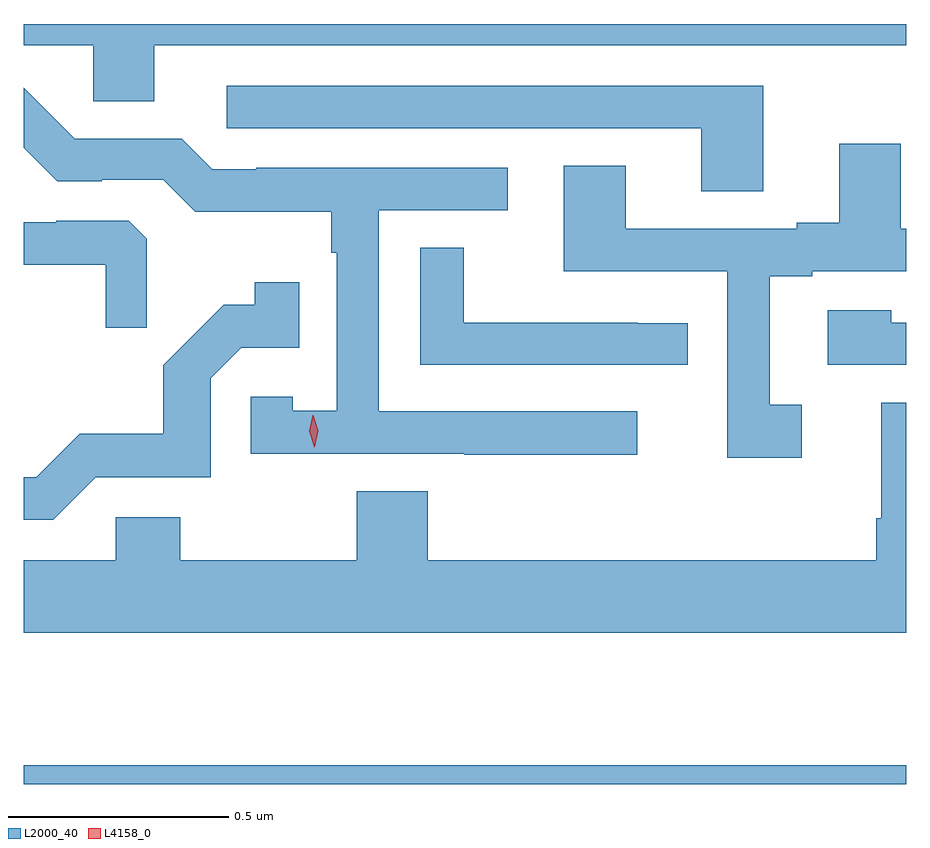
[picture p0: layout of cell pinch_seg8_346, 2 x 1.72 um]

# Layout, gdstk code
import gdstk
lib = gdstk.Library(unit=1e-6, precision=1e-09)
def R(c, l, rs):  # rectangles x0, y0, x1, y1
    for r in rs: c.add(gdstk.rectangle(r[:2], r[2:], *l))
def P(c, l, *ps):  # polygons
    for p in ps: c.add(gdstk.Polygon(p, *l))
L2000_40 = (2000, 40)
L4158_0 = (4158, 0)

pinch_seg8_346 = lib.new_cell('pinch_seg8_346')
R(pinch_seg8_346, L2000_40, [(381.581,1162.777,383.581,1162.819)])
P(pinch_seg8_346, L2000_40, [(381.877,1164.452),(383.581,1164.452),(383.581,1164.5),(381.581,1164.5),(381.581,1164.452),(381.738,1164.452),(381.738,1164.325),(381.877,1164.325)],
  [(383.257,1164.36),(382.041,1164.36),(382.041,1164.264),(383.117,1164.264),(383.117,1164.121),(383.257,1164.121)],
  [(382.972,1163.622),(382.386,1163.622),(382.386,1164.078),(382.678,1164.078),(382.678,1164.174),(382.108,1164.174),(382.108,1164.171),(382.008,1164.171),(381.939,1164.24),(381.696,1164.24),(381.581,1164.355),(381.581,1164.22),(381.657,1164.144),(381.758,1164.144),(381.758,1164.147),(381.897,1164.147),(381.97,1164.074),(382.278,1164.074),(382.278,1163.981),(382.29,1163.981),(382.29,1163.623),(382.191,1163.623),(382.191,1163.655),(382.095,1163.655),(382.095,1163.526),(382.579,1163.526),(382.579,1163.524),(382.972,1163.524)],
  [(383.344,1163.637),(383.272,1163.637),(383.272,1163.928),(383.368,1163.928),(383.368,1163.94),(383.581,1163.94),(383.581,1164.036),(383.569,1164.036),(383.569,1164.229),(383.429,1164.229),(383.429,1164.049),(383.333,1164.049),(383.333,1164.036),(382.945,1164.036),(382.945,1164.179),(382.805,1164.179),(382.805,1163.94),(383.175,1163.94),(383.175,1163.517),(383.344,1163.517)],
  [(381.86,1164.013),(381.819,1164.054),(381.654,1164.054),(381.654,1164.051),(381.581,1164.051),(381.581,1163.954),(381.766,1163.954),(381.766,1163.811),(381.86,1163.811)],
  [(383.086,1163.822),(382.973,1163.822),(382.973,1163.823),(382.578,1163.823),(382.578,1163.993),(382.479,1163.993),(382.479,1163.727),(383.086,1163.727)],
  [(381.744,1163.472),(382.005,1163.472),(382.005,1163.697),(382.074,1163.766),(382.205,1163.766),(382.205,1163.914),(382.104,1163.914),(382.104,1163.864),(382.034,1163.864),(381.897,1163.726),(381.897,1163.571),(381.708,1163.571),(381.609,1163.472),(381.581,1163.472),(381.581,1163.376),(381.648,1163.376)],
  [(383.581,1163.823),(383.547,1163.823),(383.547,1163.851),(383.403,1163.851),(383.403,1163.727),(383.581,1163.727)],
  [(383.581,1163.641),(383.525,1163.641),(383.525,1163.38),(383.513,1163.38),(383.513,1163.284),(382.496,1163.284),(382.496,1163.441),(382.336,1163.441),(382.336,1163.284),(381.936,1163.284),(381.936,1163.382),(381.789,1163.382),(381.789,1163.284),(381.581,1163.284),(381.581,1163.12),(383.581,1163.12)])
P(pinch_seg8_346, L4158_0, [(382.239,1163.541),(382.239,1163.542),(382.228,1163.577),(382.236,1163.613),(382.237,1163.613),(382.237,1163.613),(382.248,1163.578),(382.24,1163.542)])

lib.write_gds('pinch_seg8_346.gds')
